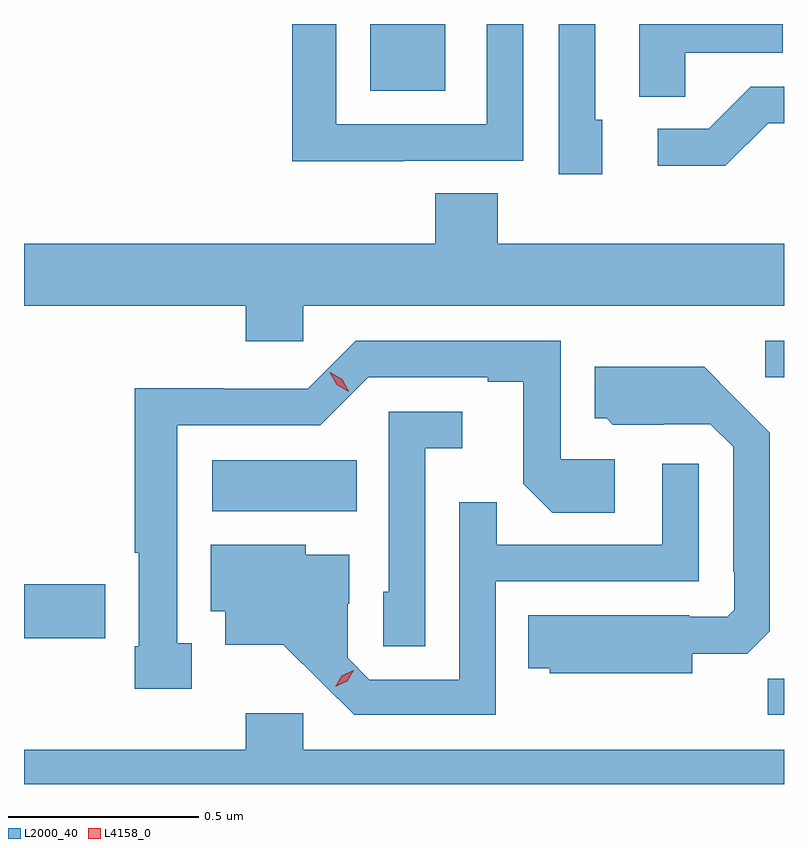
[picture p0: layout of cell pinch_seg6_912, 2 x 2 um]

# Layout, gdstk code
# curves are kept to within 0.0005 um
import gdstk
lib = gdstk.Library(unit=1e-6, precision=1e-09)
def R(c, l, rs):  # rectangles x0, y0, x1, y1
    for r in rs: c.add(gdstk.rectangle(r[:2], r[2:], *l))
def P(c, l, *ps):  # polygons
    for p in ps: c.add(gdstk.Polygon(p, *l))
L2000_40 = (2000, 40)
L4158_0 = (4158, 0)

pinch_seg6_912 = lib.new_cell('pinch_seg6_912')
R(pinch_seg6_912, L2000_40, [(159.706,916.956,159.749,917.051), (157.749,917.158,157.963,917.3), (158.244,917.492,158.624,917.626), (159.699,917.844,159.749,917.94), (158.66,918.599,158.857,918.774)])
P(pinch_seg6_912, L2000_40, [(159.489,918.698),(159.746,918.698),(159.746,918.774),(159.368,918.774),(159.368,918.583),(159.489,918.583)],
  [(158.747,918.414),(159.063,918.414),(159.063,918.774),(158.967,918.774),(158.967,918.51),(158.571,918.51),(158.571,918.774),(158.455,918.774),(158.455,918.413),(158.747,918.413)],
  [(159.271,918.522),(159.252,918.522),(159.252,918.774),(159.156,918.774),(159.156,918.378),(159.271,918.378)],
  [(159.708,918.513),(159.749,918.513),(159.749,918.609),(159.662,918.609),(159.551,918.498),(159.417,918.498),(159.417,918.401),(159.595,918.401)],
  [(158.484,918.032),(159.749,918.032),(159.749,918.196),(158.996,918.196),(158.996,918.329),(158.831,918.329),(158.831,918.196),(157.749,918.196),(157.749,918.032),(158.333,918.032),(158.333,917.939),(158.484,917.939)],
  [(158.191,917.145),(158.152,917.145),(158.152,917.718),(158.529,917.718),(158.655,917.844),(158.969,917.844),(158.969,917.832),(159.063,917.832),(159.063,917.564),(159.139,917.488),(159.304,917.488),(159.304,917.628),(159.162,917.628),(159.162,917.94),(158.622,917.94),(158.496,917.814),(158.274,917.814),(158.274,917.816),(158.041,917.816),(158.041,917.383),(158.051,917.383),(158.051,917.137),(158.041,917.137),(158.041,917.025),(158.191,917.025)],
  [(159.508,917.117),(159.652,917.117),(159.711,917.176),(159.711,917.698),(159.539,917.872),(159.251,917.872),(159.251,917.736),(159.282,917.736),(159.298,917.72),(159.432,917.72),(159.432,917.721),(159.555,917.721),(159.615,917.661),(159.615,917.332),(159.618,917.332),(159.618,917.232),(159.6,917.214),(159.5,917.214),(159.5,917.218),(159.076,917.218),(159.076,917.078),(159.132,917.078),(159.132,917.066),(159.508,917.066)],
  [(158.805,917.657),(158.902,917.657),(158.902,917.754),(158.709,917.754),(158.709,917.28),(158.694,917.28),(158.694,917.137),(158.805,917.137)],
  [(158.991,917.307),(159.525,917.307),(159.525,917.617),(159.429,917.617),(159.429,917.403),(158.993,917.403),(158.993,917.516),(158.895,917.516),(158.895,917.049),(158.658,917.049),(158.601,917.106),(158.601,917.248),(158.605,917.248),(158.605,917.377),(158.49,917.377),(158.49,917.404),(158.24,917.404),(158.24,917.228),(158.279,917.228),(158.279,917.141),(158.431,917.141),(158.618,916.956),(158.991,916.956)],
  [(159.749,916.864),(158.484,916.864),(158.484,916.96),(158.333,916.96),(158.333,916.864),(157.749,916.864),(157.749,916.774),(159.749,916.774)])
P(pinch_seg6_912, L4158_0, [(158.604,917.806),(158.572,917.825),(158.554,917.858),(158.554,917.858),(158.555,917.858),(158.586,917.839),(158.604,917.807),(158.604,917.806)],
  [(158.568,917.03),(158.568,917.03),(158.585,917.059),(158.616,917.074),(158.617,917.074),(158.617,917.074),(158.599,917.044),(158.568,917.03)])

lib.write_gds('pinch_seg6_912.gds')
